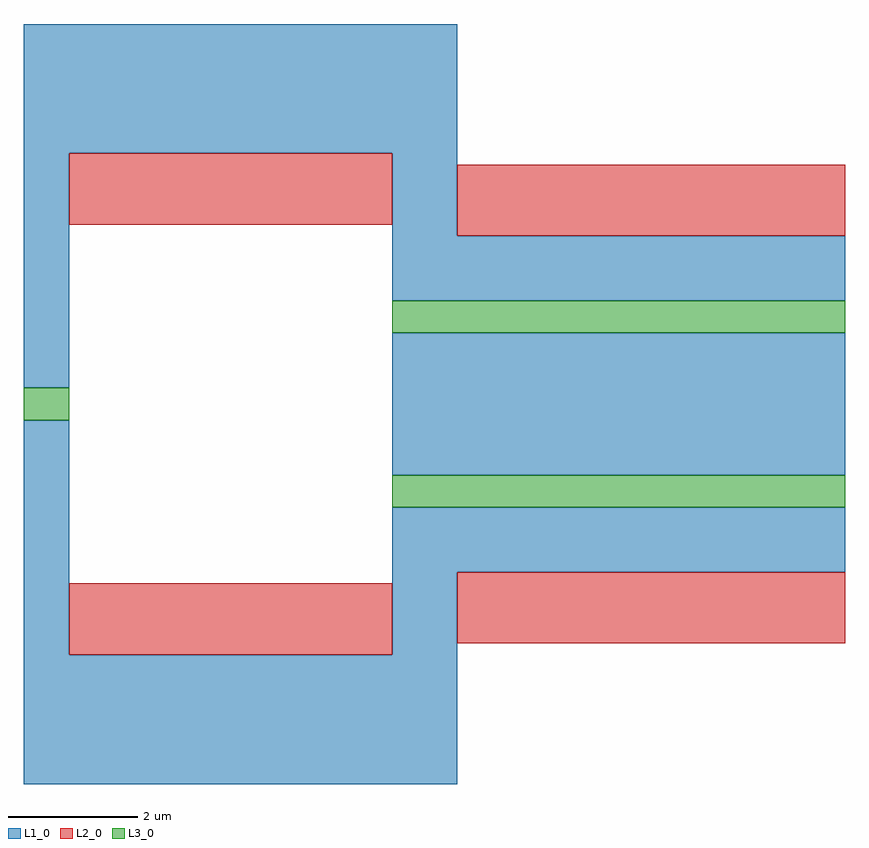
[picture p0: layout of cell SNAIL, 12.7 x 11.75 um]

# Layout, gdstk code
import gdstk
lib = gdstk.Library(unit=1e-6, precision=1e-09)
def R(c, l, rs):  # rectangles x0, y0, x1, y1
    for r in rs: c.add(gdstk.rectangle(r[:2], r[2:], *l))
def P(c, l, *ps):  # polygons
    for p in ps: c.add(gdstk.Polygon(p, *l))
L1_0 = (1, 0)
L2_0 = (2, 0)
L3_0 = (3, 0)

snail = lib.new_cell('SNAIL')
R(snail, L1_0, [(5.7,-6.975,12.7,-4.775)])
P(snail, L1_0, [(0,0),(6.7,0),(6.7,-3.275),(12.7,-3.275),(12.7,-4.275),(5.7,-4.275),(5.7,-2),(0.7,-2),(0.7,-5.625),(0,-5.625),(0,-4.625),(0,-4.625)],
  [(0,-11.75),(6.7,-11.75),(6.7,-8.475),(12.7,-8.475),(12.7,-7.475),(5.7,-7.475),(5.7,-9.75),(0.7,-9.75),(0.7,-6.125),(0,-6.125),(0,-7.125),(0,-7.125)])
R(snail, L2_0, [(0.7,-9.75,5.7,-8.65), (6.7,-9.575,12.7,-8.475), (6.7,-3.275,12.7,-2.175), (0.7,-3.1,5.7,-2)])
R(snail, L3_0, [(5.7,-7.475,12.7,-6.975), (0,-6.125,0.7,-5.625), (5.7,-4.775,12.7,-4.275)])

lib.write_gds('SNAIL.gds')
